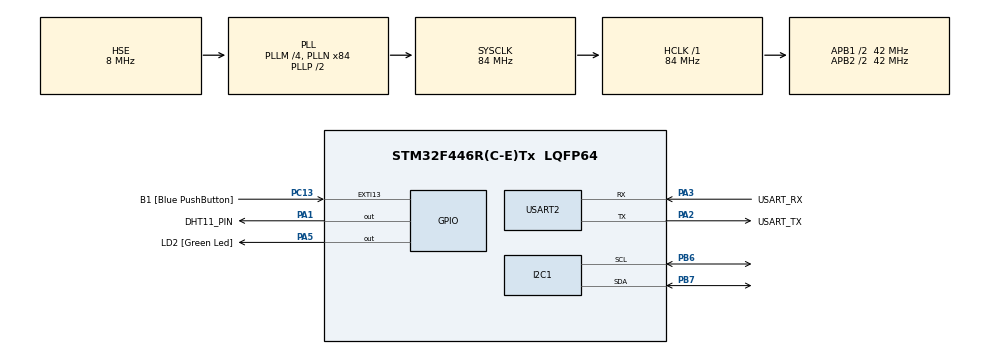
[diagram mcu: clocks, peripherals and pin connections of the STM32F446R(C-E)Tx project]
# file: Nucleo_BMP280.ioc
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Mcu.Family=STM32F4
Mcu.Name=STM32F446R(C-E)Tx
Mcu.Package=LQFP64
NVIC.EXTI15_10_IRQn=true\:0\:0\:false\:false\:true\:true\:true\:true
NVIC.PriorityGroup=NVIC_PRIORITYGROUP_0
NVIC.TIM2_IRQn=true\:0\:0\:false\:false\:true\:true\:true\:true
PA1.GPIO_Label=DHT11_PIN
PA1.Signal=GPIO_Output
PA13.GPIO_Label=TMS
PA13.Mode=Serial_Wire
PA13.Signal=SYS_JTMS-SWDIO
PA14.GPIO_Label=TCK
PA14.Mode=Serial_Wire
PA14.Signal=SYS_JTCK-SWCLK
PA2.GPIO_Label=USART_TX
PA2.Mode=Asynchronous
PA2.Signal=USART2_TX
PA3.GPIO_Label=USART_RX
PA3.Mode=Asynchronous
PA3.Signal=USART2_RX
PA5.GPIO_Label=LD2 [Green Led]
PA5.GPIO_PuPd=GPIO_NOPULL
PA5.PinState=GPIO_PIN_RESET
PA5.Signal=GPIO_Output
PB3.GPIO_Label=SWO
PB3.Signal=SYS_JTDO-SWO
PB6.Mode=I2C
PB6.Signal=I2C1_SCL
PB7.Mode=I2C
PB7.Signal=I2C1_SDA
PC13.GPIO_Label=B1 [Blue PushButton]
PC13.GPIO_ModeDefaultEXTI=GPIO_MODE_IT_FALLING
PC13.GPIO_PuPd=GPIO_PULLUP
PC13.Signal=GPXTI13
PC14-OSC32_IN.Mode=LSE-External-Oscillator
PC14-OSC32_IN.Signal=RCC_OSC32_IN
PC15-OSC32_OUT.Mode=LSE-External-Oscillator
PC15-OSC32_OUT.Signal=RCC_OSC32_OUT
PH0-OSC_IN.Mode=HSE-External-Oscillator
PH0-OSC_IN.Signal=RCC_OSC_IN
PH1-OSC_OUT.Mode=HSE-External-Oscillator
PH1-OSC_OUT.Signal=RCC_OSC_OUT
ProjectManager.HeapSize=0x200
ProjectManager.StackSize=0x400
ProjectManager.TargetToolchain=STM32CubeIDE
RCC.48MHZClocksFreq_Value=84000000
RCC.AHBFreq_Value=84000000
RCC.APB1CLKDivider=RCC_HCLK_DIV2
RCC.APB1Freq_Value=42000000
RCC.APB1TimFreq_Value=84000000
RCC.APB2CLKDivider=RCC_HCLK_DIV2
RCC.APB2Freq_Value=42000000
RCC.APB2TimFreq_Value=84000000
RCC.CortexFreq_Value=84000000
RCC.FLatency-AdvancedSettings=FLASH_LATENCY_2
RCC.HCLKFreq_Value=84000000
RCC.HSE_VALUE=8000000
RCC.HSI_VALUE=16000000
RCC.PLLM=4
RCC.PLLN=84
RCC.PLLSourceVirtual=RCC_PLLSOURCE_HSE
RCC.SYSCLKFreq_VALUE=84000000
RCC.SYSCLKSource=RCC_SYSCLKSOURCE_PLLCLK
RCC.USBFreq_Value=84000000
RCC.VCOOutputFreq_Value=168000000
TIM2.Period=4999
TIM2.Prescaler=8399
TIM6.Period=65535
TIM6.Prescaler=83
USART2.VirtualMode=VM_ASYNC
VP_TIM2_VS_ClockSourceINT.Mode=Internal
VP_TIM6_VS_ClockSourceINT.Mode=Enable_Timer
board=NUCLEO-F446RE

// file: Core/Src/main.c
/* USER CODE BEGIN Header */
/**
  ******************************************************************************
  * @file           : main.c
  * @brief          : Main program body
  ******************************************************************************
  * @attention
  *
  * Copyright (c) 2026 STMicroelectronics.
  * All rights reserved.
  *
  * This software is licensed under terms that can be found in the LICENSE file
  * in the root directory of this software component.
  * If no LICENSE file comes with this software, it is provided AS-IS.
  *
  ******************************************************************************
  */
/* USER CODE END Header */
#include "main.h"
#include "i2c.h"
#include "tim.h"
#include "usart.h"
#include "gpio.h"

/* USER CODE BEGIN Includes */
#include "ssd1306.h"
#include "ssd1306_fonts.h"
/* USER CODE END Includes */

/* USER CODE BEGIN PD */
#define BMP280_ADDR     (0x76 << 1)  // SDO → GND
#define BMP280_REG_ID   0xD0
#define BMP280_REG_CTRL 0xF4
#define BMP280_REG_CONF 0xF5
#define BMP280_REG_PRES 0xF7
#define BMP280_REG_TEMP 0xFA
#define BMP280_REG_CAL  0x88
/* USER CODE END PD */

/* USER CODE BEGIN PV */
float temp     = 0.0f;
float pressure = 0.0f;
volatile uint8_t display_mode = 0;  // 0 = BMP screen, 1 = DHT screen

// Calibration values

uint16_t dig_T1;
int16_t  dig_T2, dig_T3;
uint16_t dig_P1;
int16_t  dig_P2, dig_P3, dig_P4;
int16_t  dig_P5, dig_P6, dig_P7;
int16_t  dig_P8, dig_P9;
int32_t  t_fine;
/* USER CODE END PV */

void SystemClock_Config(void);

/* USER CODE BEGIN 0 */
#include "stdio.h"
#include "string.h"
int __io_putchar(int ch)
{
    HAL_UART_Transmit(&huart2, (uint8_t*)&ch, 1, HAL_MAX_DELAY);
    return ch;
}

// Write one register
void BMP280_WriteReg(uint8_t reg, uint8_t value)
{
    uint8_t buf[2] = {reg, value};
    HAL_I2C_Master_Transmit(&hi2c1, BMP280_ADDR, buf, 2, HAL_MAX_DELAY);
}

// Read multiple registers
void BMP280_ReadRegs(uint8_t reg, uint8_t *data, uint8_t len)
{
    HAL_I2C_Master_Transmit(&hi2c1, BMP280_ADDR, &reg, 1, HAL_MAX_DELAY);
    HAL_I2C_Master_Receive(&hi2c1, BMP280_ADDR, data, len, HAL_MAX_DELAY);
}

// Read calibration data from BMP280
void BMP280_ReadCalibration(void)
{
    uint8_t cal[24];
    BMP280_ReadRegs(BMP280_REG_CAL, cal, 24);

    dig_T1 = (cal[1]  << 8) | cal[0];
    dig_T2 = (cal[3]  << 8) | cal[2];
    dig_T3 = (cal[5]  << 8) | cal[4];
    dig_P1 = (cal[7]  << 8) | cal[6];
    dig_P2 = (cal[9]  << 8) | cal[8];
    dig_P3 = (cal[11] << 8) | cal[10];
    dig_P4 = (cal[13] << 8) | cal[12];
    dig_P5 = (cal[15] << 8) | cal[14];
    dig_P6 = (cal[17] << 8) | cal[16];
    dig_P7 = (cal[19] << 8) | cal[18];
    dig_P8 = (cal[21] << 8) | cal[20];
    dig_P9 = (cal[23] << 8) | cal[22];
}

// Compensate raw temperature (from BMP280 datasheet)
float BMP280_CompensateTemp(int32_t adc_T)
{
    int32_t var1, var2;
    var1 = ((((adc_T >> 3) - ((int32_t)dig_T1 << 1)))
            * ((int32_t)dig_T2)) >> 11;
    var2 = (((((adc_T >> 4) - ((int32_t)dig_T1))
            * ((adc_T >> 4) - ((int32_t)dig_T1))) >> 12)
            * ((int32_t)dig_T3)) >> 14;
    t_fine = var1 + var2;
    return (float)((t_fine * 5 + 128) >> 8) / 100.0f;
}

// Compensate raw pressure (from BMP280 datasheet)
float BMP280_CompensatePressure(int32_t adc_P)
{
    int64_t var1, var2, p;
    var1 = ((int64_t)t_fine) - 128000;
    var2 = var1 * var1 * (int64_t)dig_P6;
    var2 = var2 + ((var1 * (int64_t)dig_P5) << 17);
    var2 = var2 + (((int64_t)dig_P4) << 35);
    var1 = ((var1 * var1 * (int64_t)dig_P3) >> 8)
         + ((var1 * (int64_t)dig_P2) << 12);
    var1 = (((((int64_t)1) << 47) + var1))
         * ((int64_t)dig_P1) >> 33;
    if(var1 == 0) return 0;
    p = 1048576 - adc_P;
    p = (((p << 31) - var2) * 3125) / var1;
    var1 = (((int64_t)dig_P9) * (p >> 13) * (p >> 13)) >> 25;
    var2 = (((int64_t)dig_P8) * p) >> 19;
    p = ((p + var1 + var2) >> 8) + (((int64_t)dig_P7) << 4);
    return (float)p / 25600.0f;
}

// Initialize BMP280
uint8_t BMP280_Init(void)
{
    uint8_t id;

    // Check chip ID
    BMP280_ReadRegs(BMP280_REG_ID, &id, 1);
    if(id != 0x58 && id != 0x60)
    {
        printf("BMP280 not found! ID: 0x%02X\r\n", id);
        return 0;
    }
    printf("BMP280 found! ID: 0x%02X\r\n", id);

    // Read calibration
    BMP280_ReadCalibration();

    // Set normal mode, temp x2, pressure x16
    // 0xF4: osrs_t=010, osrs_p=101, mode=11
    BMP280_WriteReg(BMP280_REG_CTRL, 0x57);

    // Set filter x4, standby 250ms
    BMP280_WriteReg(BMP280_REG_CONF, 0x10);

    return 1;
}

// Read temperature and pressure
void BMP280_Read(float *temp, float *pressure)
{
    uint8_t data[6];
    int32_t adc_P, adc_T;

    // Read 6 bytes starting from 0xF7
    // [F7,F8,F9] = pressure, [FA,FB,FC] = temperature
    BMP280_ReadRegs(BMP280_REG_PRES, data, 6);

    adc_P = ((int32_t)data[0] << 12)
          | ((int32_t)data[1] << 4)
          | ((int32_t)data[2] >> 4);

    adc_T = ((int32_t)data[3] << 12)
          | ((int32_t)data[4] << 4)
          | ((int32_t)data[5] >> 4);

        *temp     = BMP280_CompensateTemp(adc_T);
        *pressure = BMP280_CompensatePressure(adc_P);
}
// Requires you to start the timer in main() first!
void delay_us (uint16_t us) {
    __HAL_TIM_SET_COUNTER(&htim6, 0);  // Reset timer counter
    while ((__HAL_TIM_GET_COUNTER(&htim6)) < us);
}
void Set_Pin_Output (GPIO_TypeDef *GPIOx, uint16_t GPIO_Pin) {
    GPIO_InitTypeDef GPIO_InitStruct = {0};
    GPIO_InitStruct.Pin = GPIO_Pin;
    GPIO_InitStruct.Mode = GPIO_MODE_OUTPUT_PP;
    GPIO_InitStruct.Pull = GPIO_NOPULL;
    GPIO_InitStruct.Speed = GPIO_SPEED_FREQ_LOW;
    HAL_GPIO_Init(GPIOx, &GPIO_InitStruct);
}

void Set_Pin_Input (GPIO_TypeDef *GPIOx, uint16_t GPIO_Pin) {
    GPIO_InitTypeDef GPIO_InitStruct = {0};
    GPIO_InitStruct.Pin = GPIO_Pin;
    GPIO_InitStruct.Mode = GPIO_MODE_INPUT;
    GPIO_InitStruct.Pull = GPIO_NOPULL;
    HAL_GPIO_Init(GPIOx, &GPIO_InitStruct);
}
uint8_t Presence = 0;
uint8_t Rh_byte1, Rh_byte2, Temp_byte1, Temp_byte2;
uint16_t SUM, RH, TEMP;

void DHT11_Start(void) {
    Set_Pin_Output(GPIOA, GPIO_PIN_1);  // Set pin to output
    HAL_GPIO_WritePin(GPIOA, GPIO_PIN_1, 0);   // Pull pin low
    HAL_Delay(18);                             // Wait for 18ms
    HAL_GPIO_WritePin(GPIOA, GPIO_PIN_1, 1);   // Pull pin high
    delay_us(20);                              // Wait for 20us
    Set_Pin_Input(GPIOA, GPIO_PIN_1);   // Set pin as input
}

uint8_t DHT11_Check_Response(void)
{
    uint8_t Response = 0;
    uint32_t timeout;

    delay_us(40);
    if(!(HAL_GPIO_ReadPin(GPIOA, GPIO_PIN_1)))
    {
        delay_us(80);
        if((HAL_GPIO_ReadPin(GPIOA, GPIO_PIN_1))) Response = 1;
        else Response = -1;
    }

    // Timeout protection
    timeout = HAL_GetTick();
    while((HAL_GPIO_ReadPin(GPIOA, GPIO_PIN_1)))
    {
        if(HAL_GetTick() - timeout > 100) return -1;  // 100ms timeout
    }
    return Response;
}

uint8_t DHT11_Read_Data(void)
{
    uint8_t i = 0, j;
    uint32_t timeout;

    for(j = 0; j < 8; j++)
    {
        // Timeout on waiting for HIGH
        timeout = HAL_GetTick();
        while(!(HAL_GPIO_ReadPin(GPIOA, GPIO_PIN_1)))
        {
            if(HAL_GetTick() - timeout > 100) return 0;
        }

        delay_us(40);

        if(!(HAL_GPIO_ReadPin(GPIOA, GPIO_PIN_1)))
        {
            i &= ~(1 << (7 - j));
        }
        else
        {
            i |= (1 << (7 - j));

            // Timeout on waiting for LOW
            timeout = HAL_GetTick();
            while((HAL_GPIO_ReadPin(GPIOA, GPIO_PIN_1)))
            {
                if(HAL_GetTick() - timeout > 100) return 0;
            }
        }
    }
    return i;
}
/* USER CODE END 0 */

int main(void)
{

  /* MCU Configuration--------------------------------------------------------*/

  /* Reset of all peripherals, Initializes the Flash interface and the Systick. */
  HAL_Init();

  /* Configure the system clock */
  SystemClock_Config();

  /* Initialize all configured peripherals */
  MX_GPIO_Init();
  MX_I2C1_Init();
  MX_USART2_UART_Init();
  MX_TIM6_Init();
  MX_TIM2_Init();
  /* USER CODE BEGIN 2 */
  ssd1306_Init();
  HAL_TIM_Base_Start(&htim6);
  HAL_TIM_Base_Start_IT(&htim2);
  /* USER CODE BEGIN 2 */
  if(!BMP280_Init())
  {
      Error_Handler();
  }
  ssd1306_Fill(Black);

  /* USER CODE END 2 */

  /* Infinite loop */
  while (1)
  {

    /* USER CODE BEGIN 3 */
	  // Read DHT11
	      DHT11_Start();
	      Presence = DHT11_Check_Response();
	      if(Presence == 1)
	      {
	          Rh_byte1   = DHT11_Read_Data();
	          Rh_byte2   = DHT11_Read_Data();
	          Temp_byte1 = DHT11_Read_Data();
	          Temp_byte2 = DHT11_Read_Data();
	          SUM        = DHT11_Read_Data();

	          if(SUM == (Rh_byte1 + Rh_byte2 + Temp_byte1 + Temp_byte2))
	          {
	              TEMP = Temp_byte1;
	              RH   = Rh_byte1;
	          }
	      }

	      // Read BMP280
	      BMP280_Read(&temp, &pressure);

	      // Update OLED based on display_mode
	      char buffer[64], buffer1[64], buffer2[64];
	      ssd1306_Fill(Black);

	      if(display_mode == 0)
	      {
	          // Screen 1 — BMP280 data
	          sprintf(buffer,  "BMP280 Sensor");
	          sprintf(buffer1, "Temp: %.1f C",  temp);
	          sprintf(buffer2, "Pres: %.0f hPa", pressure);

	          ssd1306_SetCursor(0, 0);
	          ssd1306_WriteString(buffer,  Font_7x10, White);
	          ssd1306_SetCursor(0, 15);
	          ssd1306_WriteString(buffer1, Font_7x10, White);
	          ssd1306_SetCursor(0, 30);
	          ssd1306_WriteString(buffer2, Font_7x10, White);
	          ssd1306_SetCursor(0, 50);
	          ssd1306_WriteString("BTN: DHT11 >>", Font_6x8, White);
	      }
	      else
	      {
	          // Screen 2 — DHT11 data
	          sprintf(buffer,  "DHT11 Sensor");
	          sprintf(buffer1, "Temp: %d C",  TEMP);
	          sprintf(buffer2, "Humi: %d %%", RH);

	          ssd1306_SetCursor(0, 0);
	          ssd1306_WriteString(buffer,  Font_7x10, White);
	          ssd1306_SetCursor(0, 15);
	          ssd1306_WriteString(buffer1, Font_7x10, White);
	          ssd1306_SetCursor(0, 30);
	          ssd1306_WriteString(buffer2, Font_7x10, White);
	          ssd1306_SetCursor(0, 50);
	          ssd1306_WriteString("<< BTN: BMP280", Font_6x8, White);
	      }

	      ssd1306_UpdateScreen();

	      // UART debug
	      printf("Mode: %d | BMP:%.1fC %.0fhPa | DHT:%dC %d%%\r\n",
	              display_mode, temp, pressure, TEMP, RH);

	      //HAL_GPIO_TogglePin(GPIOA, GPIO_PIN_5);
	      HAL_Delay(1000);
  }
  /* USER CODE END 3 */
}

void SystemClock_Config(void)
{
  RCC_OscInitTypeDef RCC_OscInitStruct = {0};
  RCC_ClkInitTypeDef RCC_ClkInitStruct = {0};

  /** Configure the main internal regulator output voltage
  */
  __HAL_RCC_PWR_CLK_ENABLE();
  __HAL_PWR_VOLTAGESCALING_CONFIG(PWR_REGULATOR_VOLTAGE_SCALE3);

  /** Initializes the RCC Oscillators according to the specified parameters
  * in the RCC_OscInitTypeDef structure.
  */
  RCC_OscInitStruct.OscillatorType = RCC_OSCILLATORTYPE_HSE;
  RCC_OscInitStruct.HSEState = RCC_HSE_ON;
  RCC_OscInitStruct.PLL.PLLState = RCC_PLL_ON;
  RCC_OscInitStruct.PLL.PLLSource = RCC_PLLSOURCE_HSE;
  RCC_OscInitStruct.PLL.PLLM = 4;
  RCC_OscInitStruct.PLL.PLLN = 84;
  RCC_OscInitStruct.PLL.PLLP = RCC_PLLP_DIV2;
  RCC_OscInitStruct.PLL.PLLQ = 2;
  RCC_OscInitStruct.PLL.PLLR = 2;
  if (HAL_RCC_OscConfig(&RCC_OscInitStruct) != HAL_OK)
  {
    Error_Handler();
  }

  /** Initializes the CPU, AHB and APB buses clocks
  */
  RCC_ClkInitStruct.ClockType = RCC_CLOCKTYPE_HCLK|RCC_CLOCKTYPE_SYSCLK
                              |RCC_CLOCKTYPE_PCLK1|RCC_CLOCKTYPE_PCLK2;
  RCC_ClkInitStruct.SYSCLKSource = RCC_SYSCLKSOURCE_PLLCLK;
  RCC_ClkInitStruct.AHBCLKDivider = RCC_SYSCLK_DIV1;
  RCC_ClkInitStruct.APB1CLKDivider = RCC_HCLK_DIV2;
  RCC_ClkInitStruct.APB2CLKDivider = RCC_HCLK_DIV2;

  if (HAL_RCC_ClockConfig(&RCC_ClkInitStruct, FLASH_LATENCY_2) != HAL_OK)
  {
    Error_Handler();
  }
}

/* USER CODE BEGIN 4 */
void HAL_GPIO_EXTI_Callback(uint16_t GPIO_Pin)
{
    if(GPIO_Pin == GPIO_PIN_13)
    {
        // Debounce — ignore if pressed < 200ms ago
        static uint32_t last_press = 0;
        if(HAL_GetTick() - last_press > 200)
        {
            display_mode ^= 1;  // toggle between 0 and 1
            last_press = HAL_GetTick();
        }
    }
}
void HAL_TIM_PeriodElapsedCallback(TIM_HandleTypeDef *htim)
{
    if(htim->Instance == TIM2)
    {
        HAL_GPIO_TogglePin(GPIOA, GPIO_PIN_5);  // LED toggles every 500ms
    }
}

/* USER CODE END 4 */

void Error_Handler(void)
{
  __disable_irq();
  while (1)
  {
  }
}
